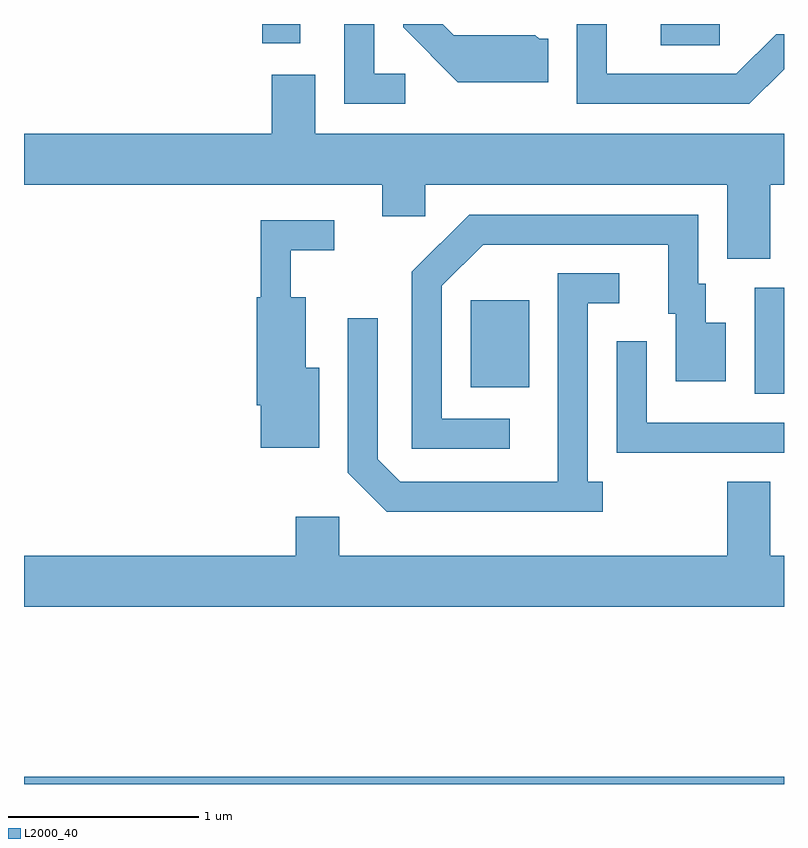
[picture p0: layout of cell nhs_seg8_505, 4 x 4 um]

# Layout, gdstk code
import gdstk
lib = gdstk.Library(unit=1e-6, precision=1e-09)
def R(c, l, rs):  # rectangles x0, y0, x1, y1
    for r in rs: c.add(gdstk.rectangle(r[:2], r[2:], *l))
def P(c, l, *ps):  # polygons
    for p in ps: c.add(gdstk.Polygon(p, *l))
L2000_40 = (2000, 40)

nhs_seg8_505 = lib.new_cell('nhs_seg8_505')
R(nhs_seg8_505, L2000_40, [(199.611,1864.342,203.611,1864.379), (203.456,1866.396,203.611,1866.954), (201.961,1866.431,202.269,1866.889), (202.963,1868.231,203.274,1868.342), (200.866,1868.241,201.064,1868.342)])
P(nhs_seg8_505, L2000_40, [(203.611,1868.105),(203.611,1868.289),(203.569,1868.289),(203.359,1868.079),(202.679,1868.079),(202.679,1868.342),(202.521,1868.342),(202.521,1867.921),(203.427,1867.921)],
  [(202.369,1868.264),(202.322,1868.264),(202.302,1868.284),(201.872,1868.284),(201.814,1868.342),(201.606,1868.342),(201.606,1868.324),(201.894,1868.036),(202.369,1868.036)],
  [(201.618,1868.079),(201.454,1868.079),(201.454,1868.342),(201.296,1868.342),(201.296,1867.921),(201.618,1867.921)],
  [(203.539,1867.496),(203.611,1867.496),(203.611,1867.764),(201.144,1867.764),(201.144,1868.074),(200.916,1868.074),(200.916,1867.764),(199.611,1867.764),(199.611,1867.496),(201.496,1867.496),(201.496,1867.331),(201.724,1867.331),(201.724,1867.496),(203.311,1867.496),(203.311,1867.106),(203.539,1867.106)],
  [(202.168,1866.264),(201.809,1866.264),(201.809,1866.964),(202.027,1867.181),(203.001,1867.181),(203.001,1866.816),(203.041,1866.816),(203.041,1866.461),(203.304,1866.461),(203.304,1866.769),(203.199,1866.769),(203.199,1866.974),(203.159,1866.974),(203.159,1867.339),(201.954,1867.339),(201.651,1867.037),(201.651,1866.106),(202.168,1866.106)],
  [(201.164,1866.534),(201.094,1866.534),(201.094,1866.904),(201.014,1866.904),(201.014,1867.151),(201.243,1867.151),(201.243,1867.309),(200.856,1867.309),(200.856,1866.904),(200.836,1866.904),(200.836,1866.336),(200.856,1866.336),(200.856,1866.111),(201.164,1866.111)],
  [(202.658,1865.934),(202.579,1865.934),(202.579,1866.871),(202.743,1866.871),(202.743,1867.029),(202.421,1867.029),(202.421,1865.934),(201.592,1865.934),(201.474,1866.052),(201.474,1866.793),(201.316,1866.793),(201.316,1865.979),(201.519,1865.776),(202.658,1865.776)],
  [(203.611,1866.244),(202.889,1866.244),(202.889,1866.673),(202.731,1866.673),(202.731,1866.086),(203.611,1866.086)],
  [(203.611,1865.544),(203.539,1865.544),(203.539,1865.934),(203.311,1865.934),(203.311,1865.544),(201.269,1865.544),(201.269,1865.749),(201.041,1865.749),(201.041,1865.544),(199.611,1865.544),(199.611,1865.276),(203.611,1865.276)])

lib.write_gds('nhs_seg8_505.gds')
